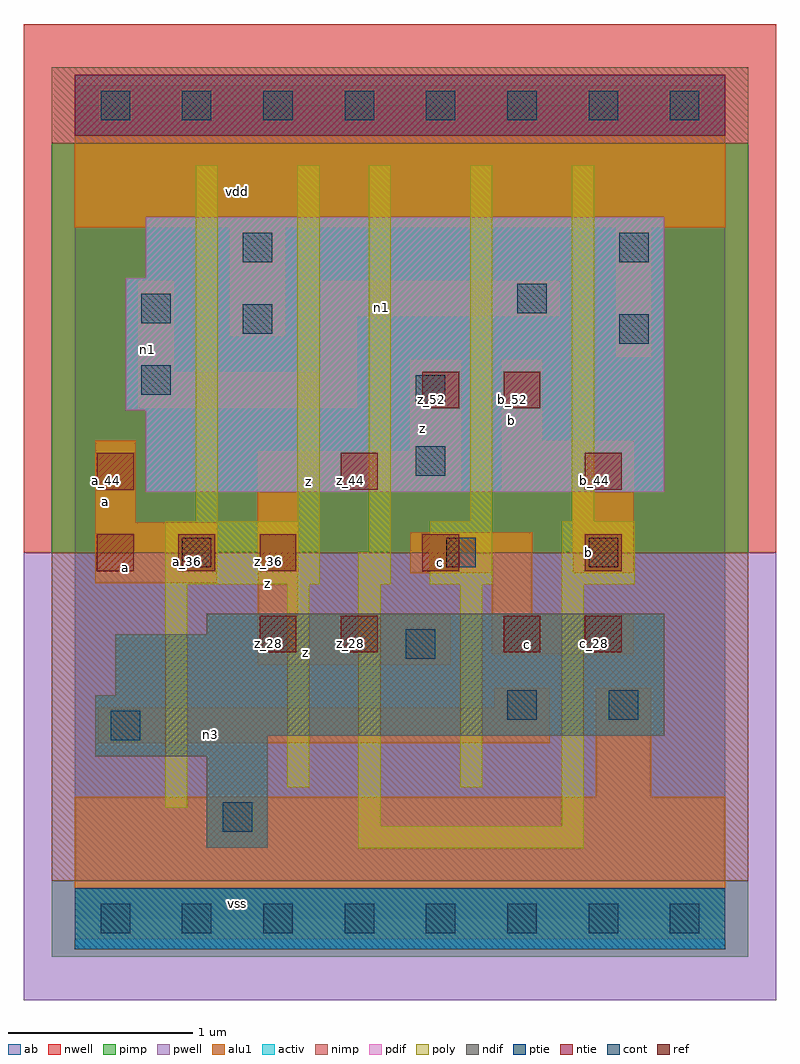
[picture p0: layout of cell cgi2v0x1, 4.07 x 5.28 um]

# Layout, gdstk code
import gdstk
lib = gdstk.Library(unit=1e-6, precision=2.5e-09)
def R(c, l, rs):  # rectangles x0, y0, x1, y1
    for r in rs: c.add(gdstk.rectangle(r[:2], r[2:], *l))
def A(c, l, x, y, w, h, nx, ny, dx, dy):  # array of equal rectangles
    R(c, l, [(x+i*dx, y+j*dy, x+i*dx+w, y+j*dy+h) for i in range(nx) for j in range(ny)])
ndif = (3, 0)
pdif = (4, 0)
ntie = (5, 0)
ptie = (6, 0)
ref = (24, 0)
cont = (25, 0)
pwell = (41, 0)
nwell = (42, 0)
activ = (43, 0)
pimp = (44, 0)
nimp = (45, 0)
poly = (46, 0)
alu1 = (49, 0)
ab = (63, 0)

cgi2v0x1 = lib.new_cell('cgi2v0x1')
R(cgi2v0x1, ndif, [(0.715,0.385,1.045,0.88), (0.11,0.88,1.045,0.99), (0.11,0.99,3.19,1.21), (0.22,1.21,3.19,1.54), (0.715,1.54,3.19,1.65)])
R(cgi2v0x1, pdif, [(0.385,2.31,3.19,2.75), (0.275,2.75,3.19,3.465), (0.385,3.465,3.19,3.795)])
R(cgi2v0x1, ntie, [(0,4.235,3.52,4.565)])
R(cgi2v0x1, ptie, [(0,-0.165,3.52,0.165)])
A(cgi2v0x1, ref, 0.12, 1.88, 0.2, 0.2, 3, 1, 0.44, 0)
A(cgi2v0x1, ref, 0.12, 2.32, 0.2, 0.2, 3, 1, 1.32, 0)
R(cgi2v0x1, ref, [(1,1.44,1.2,1.64), (1.44,1.44,1.64,1.64), (2.32,1.44,2.52,1.64), (2.76,1.44,2.96,1.64), (1.88,1.88,2.08,2.08), (2.76,1.88,2.96,2.08), (1.88,2.76,2.08,2.96), (2.32,2.76,2.52,2.96)])
A(cgi2v0x1, cont, 0.14, -0.08, 0.16, 0.16, 8, 2, 0.44, 4.4)
R(cgi2v0x1, cont, [(0.8,0.47,0.96,0.63), (0.195,0.965,0.355,1.125), (2.34,1.075,2.5,1.235), (2.89,1.075,3.05,1.235), (1.79,1.405,1.95,1.565), (0.58,1.9,0.74,2.06), (2.01,1.9,2.17,2.06), (2.78,1.9,2.94,2.06), (1.845,2.395,2.005,2.555), (1.845,2.78,2.005,2.94), (0.36,2.835,0.52,2.995), (2.945,3.11,3.105,3.27), (0.91,3.165,1.07,3.325), (0.36,3.22,0.52,3.38), (2.395,3.275,2.555,3.435), (0.91,3.55,1.07,3.71), (2.945,3.55,3.105,3.71)])
R(cgi2v0x1, pwell, [(-0.275,-0.44,3.795,1.98)])
R(cgi2v0x1, nwell, [(-0.275,1.98,3.795,4.84)])
R(cgi2v0x1, activ, [(0,-0.165,3.52,0.165), (0.715,0.385,1.045,0.88), (0.11,0.88,1.045,0.99), (0.11,0.99,3.19,1.21), (0.22,1.21,3.19,1.54), (0.715,1.54,3.19,1.65), (0.385,2.31,3.19,2.75), (0.275,2.75,3.19,3.465), (0.385,3.465,3.19,3.795), (0,4.235,3.52,4.565)])
R(cgi2v0x1, pimp, [(-0.125,-0.205,3.645,0.205), (-0.125,1.98,3.645,4.195)])
R(cgi2v0x1, nimp, [(-0.125,0.205,3.645,1.98), (-0.125,4.195,3.645,4.605)])
R(cgi2v0x1, poly, [(1.535,0.38,2.755,0.5), (1.535,0.5,1.655,1.81), (2.635,0.5,2.755,1.81), (0.49,0.6,0.61,1.81), (1.15,0.71,1.27,1.81), (2.085,0.71,2.205,1.81), (0.49,1.81,1.325,2.15), (1.535,1.81,1.71,1.985), (1.92,1.81,2.26,2.15), (2.635,1.81,3.03,2.15), (1.59,1.985,1.71,4.075), (0.655,2.15,0.775,4.075), (1.205,2.15,1.325,4.075), (2.14,2.15,2.26,4.075), (2.69,2.15,2.81,4.075)])
R(cgi2v0x1, alu1, [(0,-0.11,3.52,0.66), (2.82,0.66,3.12,1.25), (0.125,0.95,2.57,1.14), (2.27,1.14,2.57,1.25), (0.99,1.375,2.035,1.65), (2.255,1.43,3.025,1.65), (0.99,1.65,1.21,2.31), (2.255,1.65,2.475,1.87), (0.11,1.815,0.77,2.145), (1.815,1.87,2.475,2.09), (2.695,1.87,3.025,2.31), (0.11,2.145,0.33,2.585), (0.99,2.31,2.09,2.53), (2.31,2.31,3.025,2.585), (1.815,2.53,2.09,3.025), (2.31,2.585,2.53,3.025), (0.345,2.765,1.525,2.955), (0.345,2.955,0.535,3.45), (1.335,2.955,1.525,3.26), (2.93,3.04,3.12,3.74), (0.84,3.15,1.14,3.74), (1.335,3.26,2.625,3.45), (0,3.74,3.52,4.51)])
R(cgi2v0x1, ab, [(0,0,3.52,4.4)])
cgi2v0x1.add(gdstk.Label('vss', (0.88,0.0825), layer=49, texttype=0))
cgi2v0x1.add(gdstk.Label('n3', (0.735,0.9975), layer=49, texttype=0))
cgi2v0x1.add(gdstk.Label('c', (2.4475,1.485), layer=49, texttype=0))
cgi2v0x1.add(gdstk.Label('z', (1.25,1.4425), layer=49, texttype=0))
cgi2v0x1.add(gdstk.Label('b', (2.7775,1.98), layer=49, texttype=0))
cgi2v0x1.add(gdstk.Label('c', (1.98,1.925), layer=49, texttype=0))
cgi2v0x1.add(gdstk.Label('z', (1.045,1.815), layer=49, texttype=0))
cgi2v0x1.add(gdstk.Label('a', (0.275,1.8975), layer=49, texttype=0))
cgi2v0x1.add(gdstk.Label('b', (2.365,2.695), layer=49, texttype=0))
cgi2v0x1.add(gdstk.Label('z', (1.265,2.365), layer=49, texttype=0))
cgi2v0x1.add(gdstk.Label('z', (1.8825,2.6525), layer=49, texttype=0))
cgi2v0x1.add(gdstk.Label('a', (0.165,2.255), layer=49, texttype=0))
cgi2v0x1.add(gdstk.Label('n1', (1.6575,3.3075), layer=49, texttype=0))
cgi2v0x1.add(gdstk.Label('n1', (0.3925,3.0775), layer=49, texttype=0))
cgi2v0x1.add(gdstk.Label('vdd', (0.88,3.9325), layer=49, texttype=0))
cgi2v0x1.add(gdstk.Label('b_44', (2.81,2.37), layer=24, texttype=0))
cgi2v0x1.add(gdstk.Label('b_36', (2.81,1.93), layer=24, texttype=0))
cgi2v0x1.add(gdstk.Label('c_28', (2.81,1.49), layer=24, texttype=0))
cgi2v0x1.add(gdstk.Label('b_52', (2.37,2.81), layer=24, texttype=0))
cgi2v0x1.add(gdstk.Label('c_28', (2.37,1.49), layer=24, texttype=0))
cgi2v0x1.add(gdstk.Label('a_44', (0.17,2.37), layer=24, texttype=0))
cgi2v0x1.add(gdstk.Label('a_36', (0.17,1.93), layer=24, texttype=0))
cgi2v0x1.add(gdstk.Label('z_52', (1.93,2.81), layer=24, texttype=0))
cgi2v0x1.add(gdstk.Label('c_36', (1.93,1.93), layer=24, texttype=0))
cgi2v0x1.add(gdstk.Label('z_44', (1.49,2.37), layer=24, texttype=0))
cgi2v0x1.add(gdstk.Label('z_28', (1.49,1.49), layer=24, texttype=0))
cgi2v0x1.add(gdstk.Label('z_36', (1.05,1.93), layer=24, texttype=0))
cgi2v0x1.add(gdstk.Label('z_28', (1.05,1.49), layer=24, texttype=0))
cgi2v0x1.add(gdstk.Label('a_36', (0.61,1.93), layer=24, texttype=0))

lib.write_gds('cgi2v0x1.gds')
